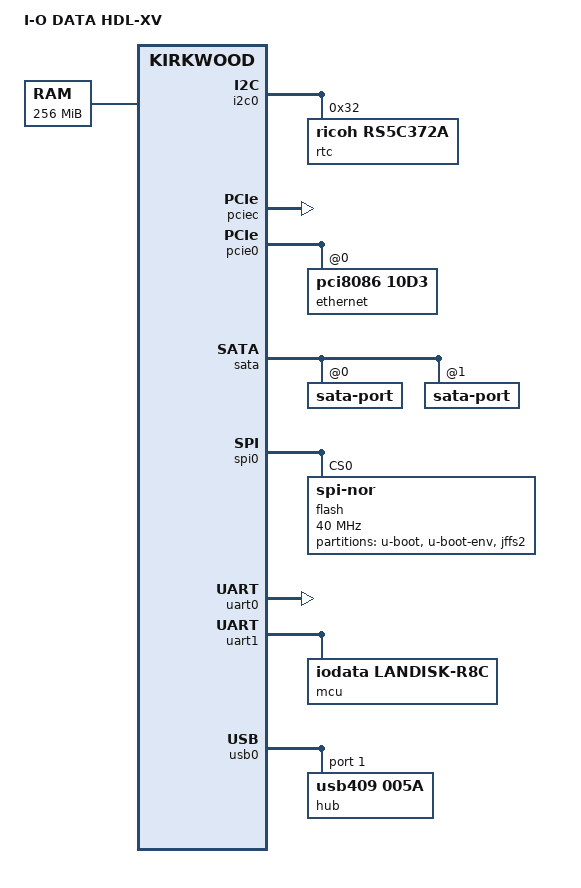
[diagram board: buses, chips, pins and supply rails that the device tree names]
// SPDX-License-Identifier: GPL-2.0-or-later OR MIT

/dts-v1/;

#include <dt-bindings/leds/common.h>
#include "kirkwood.dtsi"
#include "kirkwood-6281.dtsi"

/ {
	model = "I-O DATA HDL-XV";
	compatible = "iodata,hdl-xv", "marvell,kirkwood-88f6281", "marvell,kirkwood";

	aliases {
		serial0 = &uart0;
		serial1 = &uart1;
	};

	chosen {
		bootargs-append = " earlycon root=PARTUUID=5452574f-2211-4433-5566-778899aabb02 rootwait=20";
		stdout-path = "serial0:115200n8";
	};

	memory@0 {
		device_type = "memory";
		reg = <0x00000000 0x10000000>;
	};
};

&i2c0 {
	status = "okay";

	rtc@32 {
		compatible = "ricoh,rs5c372a";
		reg = <0x32>;
		/* enable alarm for powering on by R8C MCU */
		wakeup-source;
	};
};

&pciec {
	status = "okay";
};

&pcie0 {
	status = "okay";

	/* Intel 82574L */
	ethernet@0,0 {
		compatible = "pci8086,10d3";
		reg = <0x0000 0 0 0 0>;
	};
};

&rtc {
	status = "disabled";
};

&sata {
	status = "okay";
	nr-ports = <2>;
	#address-cells = <1>;
	#size-cells = <0>;

	/* external eSATA port on rear panel */
	sata-port@0 {
		reg = <0>;
	};

	/*
	 * internal 4x SATA ports provided by
	 * a port multiplier (Marvell 88SM4140)
	 */
	sata-port@1 {
		reg = <1>;
	};
};

&spi0 {
	status = "okay";

	flash@0 {
		compatible = "jedec,spi-nor";
		spi-max-frequency = <40000000>;
		reg = <0>;

		partitions {
			compatible = "fixed-partitions";
			#address-cells = <1>;
			#size-cells = <1>;

			partition@0 {
				label = "u-boot";
				reg = <0x00000 0x70000>;
				read-only;
			};

			partition@70000 {
				label = "u-boot-env";
				reg = <0x70000 0x10000>;
				read-only;
			};

			partition@80000 {
				label = "jffs2";
				reg = <0x80000 0x780000>;
				read-only;
			};
		};
	};
};

&uart0 {
	status = "okay";
};

&uart1 {
	status = "okay";

	mcu {
		compatible = "iodata,landisk-r8c";
		iodata,landisk-r8c-model = "HDL-XV";

		buttons {
			compatible = "iodata,landisk-r8c-keys-event";

			/* 'c' */
			key-function {
				label = "func.";
				iodata,landisk-r8c-keycode = /bits/ 8 <0x63>;
				linux,code = <KEY_COPY>;
			};

			/* 'p' */
			key-power {
				label = "power";
				iodata,landisk-r8c-keycode = /bits/ 8 <0x70>;
				linux,code = <KEY_POWER>;
			};

			/* 'r' */
			key-reset {
				label = "reset";
				iodata,landisk-r8c-keycode = /bits/ 8 <0x72>;
				linux,code = <KEY_RESTART>;
			};
		};

		hdds {
			compatible = "iodata,landisk-r8c-keys-polled";

			/* 'w' */
			switch-hdd1 {
				label = "hdd1";
				iodata,landisk-r8c-keycode = /bits/ 8 <0x77>;
				linux,code = <BTN_1>;
			};

			/* 'x' */
			switch-hdd2 {
				label = "hdd2";
				iodata,landisk-r8c-keycode = /bits/ 8 <0x78>;
				linux,code = <BTN_2>;
			};

			/* 'y' */
			switch-hdd3 {
				label = "hdd3";
				iodata,landisk-r8c-keycode = /bits/ 8 <0x79>;
				linux,code = <BTN_3>;
			};

			/* 'z' */
			switch-hdd4 {
				label = "hdd4";
				iodata,landisk-r8c-keycode = /bits/ 8 <0x7a>;
				linux,code = <BTN_4>;
			};
		};

		leds {
			compatible = "iodata,landisk-r8c-leds";
			#address-cells = <1>;
			#size-cells = <0>;

			led@0 {
				reg = <0>;
				color = <LED_COLOR_ID_MULTI>;
				function = LED_FUNCTION_DISK_ACTIVITY;
				function-enumerator = <1>;
			};

			led@1 {
				reg = <1>;
				color = <LED_COLOR_ID_MULTI>;
				function = LED_FUNCTION_DISK_ACTIVITY;
				function-enumerator = <2>;
			};

			led@2 {
				reg = <2>;
				color = <LED_COLOR_ID_MULTI>;
				function = LED_FUNCTION_DISK_ACTIVITY;
				function-enumerator = <3>;
			};

			led@3 {
				reg = <3>;
				color = <LED_COLOR_ID_MULTI>;
				function = LED_FUNCTION_DISK_ACTIVITY;
				function-enumerator = <4>;
			};
		};

		reset {
			compatible = "iodata,landisk-r8c-reset";
		};
	};
};

&usb0 {
	#address-cells = <1>;
	#size-cells = <0>;
	status = "okay";

	hub@1 {
		compatible = "usb409,005a";
		reg = <1>;
		#address-cells = <1>;
		#size-cells = <0>;

		port@1 {
			reg = <1>;
		};

		port@2 {
			reg = <2>;
		};
	};
};
